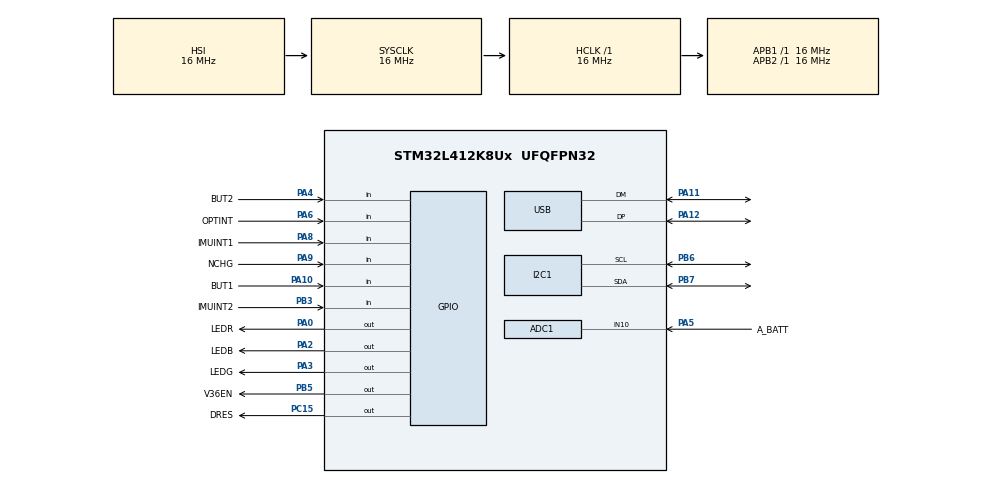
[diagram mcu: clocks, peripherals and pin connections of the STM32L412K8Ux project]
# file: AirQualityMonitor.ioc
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ADC1.Channel-0\#ChannelRegularConversion=ADC_CHANNEL_10
ADC1.NbrOfConversionFlag=1
ADC1.OffsetNumber-0\#ChannelRegularConversion=ADC_OFFSET_NONE
ADC1.Rank-0\#ChannelRegularConversion=1
ADC1.SamplingTime-0\#ChannelRegularConversion=ADC_SAMPLETIME_2CYCLES_5
ADC1.master=1
I2C1.Timing=0x00503D58
Mcu.Family=STM32L4
Mcu.Name=STM32L412K8Ux
Mcu.Package=UFQFPN32
NVIC.PriorityGroup=NVIC_PRIORITYGROUP_4
NVIC.USB_IRQn=true\:0\:0\:false\:false\:true\:false\:true\:true
PA0-CK_IN.GPIO_Label=LEDR
PA0-CK_IN.Signal=GPIO_Output
PA10.GPIO_Label=BUT1
PA10.Signal=GPIO_Input
PA11.Mode=Device
PA11.Signal=USB_DM
PA12.Mode=Device
PA12.Signal=USB_DP
PA13\ (JTMS/SWDIO).Mode=Serial_Wire
PA13\ (JTMS/SWDIO).Signal=SYS_JTMS-SWDIO
PA14\ (JTCK/SWCLK).Mode=Serial_Wire
PA14\ (JTCK/SWCLK).Signal=SYS_JTCK-SWCLK
PA2.GPIO_Label=LEDB
PA2.Signal=GPIO_Output
PA3.GPIO_Label=LEDG
PA3.Signal=GPIO_Output
PA4.GPIO_Label=BUT2
PA4.Signal=GPIO_Input
PA5.GPIO_Label=A_BATT
PA5.Signal=ADCx_IN10
PA6.GPIO_Label=OPTINT
PA6.Signal=GPIO_Input
PA8.GPIO_Label=IMUINT1
PA8.Signal=GPIO_Input
PA9.GPIO_Label=NCHG
PA9.Signal=GPIO_Input
PB3\ (JTDO/TRACESWO).GPIO_Label=IMUINT2
PB3\ (JTDO/TRACESWO).Signal=GPIO_Input
PB5.GPIO_Label=V36EN
PB5.Signal=GPIO_Output
PB6.Mode=I2C
PB6.Signal=I2C1_SCL
PB7.Mode=I2C
PB7.Signal=I2C1_SDA
PC15-OSC32_OUT\ (PC15).GPIO_Label=DRES
PC15-OSC32_OUT\ (PC15).Signal=GPIO_Output
ProjectManager.HeapSize=0x200
ProjectManager.StackSize=0x400
ProjectManager.TargetToolchain=STM32CubeIDE
RCC.ADCFreq_Value=16000000
RCC.AHBFreq_Value=16000000
RCC.APB1Freq_Value=16000000
RCC.APB1TimFreq_Value=16000000
RCC.APB2Freq_Value=16000000
RCC.APB2TimFreq_Value=16000000
RCC.CK48CLockSelection=RCC_USBCLKSOURCE_HSI48
RCC.CortexFreq_Value=16000000
RCC.HCLKFreq_Value=16000000
RCC.HSE_VALUE=8000000
RCC.HSI48_VALUE=48000000
RCC.HSI_VALUE=16000000
RCC.LSE_VALUE=32768
RCC.MSI_VALUE=4000000
RCC.SYSCLKFreq_VALUE=16000000
RCC.SYSCLKSource=RCC_SYSCLKSOURCE_HSI
RCC.USBFreq_Value=48000000
RCC.VCOOutputFreq_Value=32000000
SH.ADCx_IN10.0=ADC1_IN10,IN10-Single-Ended
USB_DEVICE.CLASS_NAME_FS=CDC
USB_DEVICE.VirtualMode=Cdc
USB_DEVICE.VirtualModeFS=Cdc_FS
VP_USB_DEVICE_VS_USB_DEVICE_CDC_FS.Mode=CDC_FS
board=custom

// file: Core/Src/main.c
/* USER CODE BEGIN Header */
/**
  ******************************************************************************
  * @file           : main.c
  * @brief          : Main program body
  ******************************************************************************
  * @attention
  *
  * Copyright (c) 2026 STMicroelectronics.
  * All rights reserved.
  *
  * This software is licensed under terms that can be found in the LICENSE file
  * in the root directory of this software component.
  * If no LICENSE file comes with this software, it is provided AS-IS.
  *
  ******************************************************************************
  */
/* USER CODE END Header */
#include "main.h"
//#include "usb_device.h"
#include "../../Drivers/SSD1316/Inc/ssd1316_drawing.h"
#include "../../Drivers/OPT3002/opt3002.h"
#include "../../Drivers/SGP41/sgp41.h"
#include "../../Drivers/SGP41/sensirion_gas_index_algorithm.h"
#include "../../Drivers/STCC4/stcc4.h"
#include "images.h"
#include <stdio.h>

/* USER CODE BEGIN Includes */
//#include "usbd_cdc_if.h"
#include "../Inc/sensor_cycling.h"
#include "../Inc/airlet_gui.h"
//#include "../Inc/airlet_gui.h"

/* USER CODE END Includes */

/* USER CODE BEGIN PD */
#define OLED_I2C_ADDR		0x3C
#define SGP41_I2C_ADDR		0x59
#define STCC4_I2C_ADDR		0x64
#define SHT40_I2C_ADDR		0x45
#define OPT3002_I2C_ADDR	0x44
#define BMI323_I2C_ADDR		0x68
/* USER CODE END PD */

ADC_HandleTypeDef hadc1;

I2C_HandleTypeDef hi2c1;

void SystemClock_Config(void);
static void MX_GPIO_Init(void);
static void MX_ADC1_Init(void);
static void MX_I2C1_Init(void);

int main(void)
{

  /* MCU Configuration--------------------------------------------------------*/

  /* Reset of all peripherals, Initializes the Flash interface and the Systick. */
  HAL_Init();

  /* Configure the system clock */
  SystemClock_Config();

  /* Initialize all configured peripherals */

  MX_GPIO_Init();
  MX_ADC1_Init();
  MX_I2C1_Init();
  MX_USB_DEVICE_Init();
  /* USER CODE BEGIN 2 */

  GasIndexAlgorithmParams vocparams;
  GasIndexAlgorithm_init(&vocparams, GasIndexAlgorithm_ALGORITHM_TYPE_VOC);
  GasIndexAlgorithmParams noxparams;
  GasIndexAlgorithm_init(&noxparams, GasIndexAlgorithm_ALGORITHM_TYPE_NOX);

  HAL_ADCEx_Calibration_Start(&hadc1, ADC_SINGLE_ENDED);

  SSD1316_Set_I2C_And_Reset_Ports(hi2c1, DRES_GPIO_Port, DRES_Pin);
  SSD1316_Init();
  SSD1316_Set_Screen_Enable(true);
  SSD1316_Clear_Screen();
  SSD1316_Set_Contrast(0x30);
  //HAL_Delay(1000);

  OPT3002_Set_I2C(hi2c1);
  SGP41_Set_I2C(hi2c1);
  STCC4_Set_I2C(hi2c1);
  Set_ADC_And_Gas_Params(&hadc1, &vocparams, &noxparams);

/*
  uint8_t dimensions[] = {44, 6, 120, 6, 120, 25, 44, 25, 36, 16};
  SSD1316_Draw_X_Gon(dimensions, 5, 1);
  char coopshap[9] = "CO2PER";
  SSD1316_Set_Cursor_Position(55, 8);
  SSD1316_Write_String(coopshap, true, true);
  char cal[22] = "Calibrating...";
  SSD1316_Set_Cursor_Position(44, 16);
  SSD1316_Write_String(cal, true, true);

  SSD1316_Update_Screen();
  HAL_Delay(1000);
*/

  SGP41_Execute_Conditioning();
  STCC4_Set_Enabled(true);
  HAL_Delay(50);

  struct SensorReadings sensor_readings = {0x00, 0x00, 0x00, 0x00, 0x00, 0x00, 0x00};
  Set_Cycling_Enabled(true);
  Set_Sensor_States(0xFF, 0x03);

  Refresh_Sensor_Readings(&sensor_readings);
  HAL_Delay(1000);
  Set_Sensor_States(0xAA, 0x02);

  GPIO_PinState old_button_1 = 0;
  GPIO_PinState old_button_2 = 0;
  GPIO_PinState old_charge = 1;

  struct SensorHistory* sensor_history = Get_Sensor_History();

  /* USER CODE END 2 */

  /* Infinite loop */
  /* USER CODE BEGIN WHILE */
  while (1) {
	  //sensor_readings.batt = (sensor_readings.batt + ((HAL_GetTick() % 100) < 30)) % 100;

		  HAL_ADC_Start(&hadc1);

		  uint16_t batt_reading = HAL_ADC_GetValue(&hadc1);
		  sensor_readings.batt = (batt_reading - 1861) * 100 / 747;

		  HAL_ADC_Stop(&hadc1);

	  GPIO_PinState button_1 = HAL_GPIO_ReadPin(GPIOA, BUT1_Pin);
	  GPIO_PinState button_2 = HAL_GPIO_ReadPin(GPIOA, BUT2_Pin);

	  if (button_1 == 0 && old_button_1 == 1) {
	  		  Check_Button_Navigation(BUTTON_PRESS, BUTTON_OFF);
	  	  }
	  else if (button_2 == 0 && old_button_2 == 1) {
		  Check_Button_Navigation(BUTTON_OFF, BUTTON_PRESS);
	  	  }

	  old_button_1 = button_1;
	  old_button_2 = button_2;

	  Refresh_Sensor_Readings(&sensor_readings);
	  Update_Display(&sensor_readings, sensor_history);

	  GPIO_PinState charging = HAL_GPIO_ReadPin(GPIOA, NCHG_Pin);

	  if (charging == GPIO_PIN_SET && old_charge == GPIO_PIN_RESET) {
	  		if (Get_Screen_State() == CHARGE_MODE) Change_State(HOME);
		} else if (charging == GPIO_PIN_RESET && old_charge == GPIO_PIN_SET) {
			Change_State(CHARGE_MODE);
		}

	  old_charge = charging;

/*

	  	//HAL_Delay(3000);
	  if (HAL_GPIO_ReadPin(GPIOA, BUT1_Pin) == GPIO_PIN_RESET) {
		  SSD1316_Set_Screen_Invert(true);
	  }
	  if (HAL_GPIO_ReadPin(GPIOA, BUT2_Pin) == GPIO_PIN_RESET) {
		  SSD1316_Set_Screen_Invert(false);
	  }

	  HAL_GPIO_WritePin(GPIOA, LEDR_Pin, GPIO_PIN_SET);
	  HAL_GPIO_WritePin(GPIOA, LEDG_Pin, GPIO_PIN_SET);

	  if (status == HAL_OK) {
	  			HAL_GPIO_WritePin(GPIOA, LEDG_Pin, GPIO_PIN_RESET);
	  			HAL_GPIO_WritePin(GPIOA, LEDR_Pin, GPIO_PIN_SET);
	  		} else {
	  			HAL_GPIO_WritePin(GPIOA, LEDR_Pin, GPIO_PIN_RESET);
	  			HAL_GPIO_WritePin(GPIOA, LEDG_Pin, GPIO_PIN_SET);
	  		}

	bufLen = snprintf(logBuf, sizeof(logBuf), "Data = %u\r\n", regData);
	CDC_Transmit_FS((uint8_t *) logBuf, bufLen);

*/

    /* USER CODE END WHILE */

  }
}

void SystemClock_Config(void)
{
  RCC_OscInitTypeDef RCC_OscInitStruct = {0};
  RCC_ClkInitTypeDef RCC_ClkInitStruct = {0};

  /** Configure the main internal regulator output voltage
  */
  if (HAL_PWREx_ControlVoltageScaling(PWR_REGULATOR_VOLTAGE_SCALE1) != HAL_OK)
  {
    Error_Handler();
  }

  /** Initializes the RCC Oscillators according to the specified parameters
  * in the RCC_OscInitTypeDef structure.
  */
  RCC_OscInitStruct.OscillatorType = RCC_OSCILLATORTYPE_HSI48|RCC_OSCILLATORTYPE_HSI;
  RCC_OscInitStruct.HSIState = RCC_HSI_ON;
  RCC_OscInitStruct.HSI48State = RCC_HSI48_ON;
  RCC_OscInitStruct.HSICalibrationValue = RCC_HSICALIBRATION_DEFAULT;
  RCC_OscInitStruct.PLL.PLLState = RCC_PLL_NONE;
  if (HAL_RCC_OscConfig(&RCC_OscInitStruct) != HAL_OK)
  {
    Error_Handler();
  }

  /** Initializes the CPU, AHB and APB buses clocks
  */
  RCC_ClkInitStruct.ClockType = RCC_CLOCKTYPE_HCLK|RCC_CLOCKTYPE_SYSCLK
                              |RCC_CLOCKTYPE_PCLK1|RCC_CLOCKTYPE_PCLK2;
  RCC_ClkInitStruct.SYSCLKSource = RCC_SYSCLKSOURCE_HSI;
  RCC_ClkInitStruct.AHBCLKDivider = RCC_SYSCLK_DIV1;
  RCC_ClkInitStruct.APB1CLKDivider = RCC_HCLK_DIV1;
  RCC_ClkInitStruct.APB2CLKDivider = RCC_HCLK_DIV1;

  if (HAL_RCC_ClockConfig(&RCC_ClkInitStruct, FLASH_LATENCY_0) != HAL_OK)
  {
    Error_Handler();
  }
}

static void MX_ADC1_Init(void)
{

  ADC_MultiModeTypeDef multimode = {0};
  ADC_ChannelConfTypeDef sConfig = {0};

  /** Common config
  */
  hadc1.Instance = ADC1;
  hadc1.Init.ClockPrescaler = ADC_CLOCK_ASYNC_DIV1;
  hadc1.Init.Resolution = ADC_RESOLUTION_12B;
  hadc1.Init.DataAlign = ADC_DATAALIGN_RIGHT;
  hadc1.Init.ScanConvMode = ADC_SCAN_DISABLE;
  hadc1.Init.EOCSelection = ADC_EOC_SINGLE_CONV;
  hadc1.Init.LowPowerAutoWait = DISABLE;
  hadc1.Init.ContinuousConvMode = DISABLE;
  hadc1.Init.NbrOfConversion = 1;
  hadc1.Init.DiscontinuousConvMode = DISABLE;
  hadc1.Init.ExternalTrigConv = ADC_SOFTWARE_START;
  hadc1.Init.ExternalTrigConvEdge = ADC_EXTERNALTRIGCONVEDGE_NONE;
  hadc1.Init.DMAContinuousRequests = DISABLE;
  hadc1.Init.Overrun = ADC_OVR_DATA_PRESERVED;
  hadc1.Init.OversamplingMode = DISABLE;
  if (HAL_ADC_Init(&hadc1) != HAL_OK)
  {
    Error_Handler();
  }

  /** Configure the ADC multi-mode
  */
  multimode.Mode = ADC_MODE_INDEPENDENT;
  if (HAL_ADCEx_MultiModeConfigChannel(&hadc1, &multimode) != HAL_OK)
  {
    Error_Handler();
  }

  /** Configure Regular Channel
  */
  sConfig.Channel = ADC_CHANNEL_10;
  sConfig.Rank = ADC_REGULAR_RANK_1;
  sConfig.SamplingTime = ADC_SAMPLETIME_47CYCLES_5;
  sConfig.SingleDiff = ADC_SINGLE_ENDED;
  sConfig.OffsetNumber = ADC_OFFSET_NONE;
  sConfig.Offset = 0;
  if (HAL_ADC_ConfigChannel(&hadc1, &sConfig) != HAL_OK)
  {
    Error_Handler();
  }

}

static void MX_I2C1_Init(void)
{

  hi2c1.Instance = I2C1;
  hi2c1.Init.Timing = 0x00300617;
  hi2c1.Init.OwnAddress1 = 0;
  hi2c1.Init.AddressingMode = I2C_ADDRESSINGMODE_7BIT;
  hi2c1.Init.DualAddressMode = I2C_DUALADDRESS_DISABLE;
  hi2c1.Init.OwnAddress2 = 0;
  hi2c1.Init.OwnAddress2Masks = I2C_OA2_NOMASK;
  hi2c1.Init.GeneralCallMode = I2C_GENERALCALL_DISABLE;
  hi2c1.Init.NoStretchMode = I2C_NOSTRETCH_DISABLE;
  if (HAL_I2C_Init(&hi2c1) != HAL_OK)
  {
    Error_Handler();
  }

  /** Configure Analogue filter
  */
  if (HAL_I2CEx_ConfigAnalogFilter(&hi2c1, I2C_ANALOGFILTER_ENABLE) != HAL_OK)
  {
    Error_Handler();
  }

  /** Configure Digital filter
  */
  if (HAL_I2CEx_ConfigDigitalFilter(&hi2c1, 0) != HAL_OK)
  {
    Error_Handler();
  }

}

static void MX_GPIO_Init(void)
{
  GPIO_InitTypeDef GPIO_InitStruct = {0};

  /* GPIO Ports Clock Enable */
  __HAL_RCC_GPIOC_CLK_ENABLE();
  __HAL_RCC_GPIOA_CLK_ENABLE();
  __HAL_RCC_GPIOB_CLK_ENABLE();

  /*Configure GPIO pin Output Level */
  HAL_GPIO_WritePin(DRES_GPIO_Port, DRES_Pin, GPIO_PIN_SET);

  /*Configure GPIO pin Output Level */
  HAL_GPIO_WritePin(GPIOA, LEDR_Pin|LEDB_Pin|LEDG_Pin, GPIO_PIN_SET);

  /*Configure GPIO pin Output Level */
  HAL_GPIO_WritePin(V36EN_GPIO_Port, V36EN_Pin, GPIO_PIN_SET);

  /*Configure GPIO pin : DRES_Pin */
  GPIO_InitStruct.Pin = DRES_Pin;
  GPIO_InitStruct.Mode = GPIO_MODE_OUTPUT_PP;
  GPIO_InitStruct.Pull = GPIO_NOPULL;
  GPIO_InitStruct.Speed = GPIO_SPEED_FREQ_LOW;
  HAL_GPIO_Init(DRES_GPIO_Port, &GPIO_InitStruct);

  /*Configure GPIO pins : LEDR_Pin LEDB_Pin LEDG_Pin */
  GPIO_InitStruct.Pin = LEDR_Pin|LEDB_Pin|LEDG_Pin;
  GPIO_InitStruct.Mode = GPIO_MODE_OUTPUT_PP;
  GPIO_InitStruct.Pull = GPIO_NOPULL;
  GPIO_InitStruct.Speed = GPIO_SPEED_FREQ_LOW;
  HAL_GPIO_Init(GPIOA, &GPIO_InitStruct);

  /*Configure GPIO pins : BUT2_Pin OPTINT_Pin IMUINT1_Pin NCHG_Pin
                           BUT1_Pin */
  GPIO_InitStruct.Pin = OPTINT_Pin|IMUINT1_Pin|NCHG_Pin;
  GPIO_InitStruct.Mode = GPIO_MODE_INPUT;
  GPIO_InitStruct.Pull = GPIO_NOPULL;
  HAL_GPIO_Init(GPIOA, &GPIO_InitStruct);

  GPIO_InitStruct.Pin = BUT2_Pin|BUT1_Pin;
  GPIO_InitStruct.Mode = GPIO_MODE_INPUT;
  GPIO_InitStruct.Pull = GPIO_PULLUP;
  HAL_GPIO_Init(GPIOA, &GPIO_InitStruct);

  /*Configure GPIO pin : IMUINT2_Pin */
  GPIO_InitStruct.Pin = IMUINT2_Pin;
  GPIO_InitStruct.Mode = GPIO_MODE_INPUT;
  GPIO_InitStruct.Pull = GPIO_NOPULL;
  HAL_GPIO_Init(IMUINT2_GPIO_Port, &GPIO_InitStruct);

  /*Configure GPIO pin : V36EN_Pin */
  GPIO_InitStruct.Pin = V36EN_Pin;
  GPIO_InitStruct.Mode = GPIO_MODE_OUTPUT_PP;
  GPIO_InitStruct.Pull = GPIO_NOPULL;
  GPIO_InitStruct.Speed = GPIO_SPEED_FREQ_LOW;
  HAL_GPIO_Init(V36EN_GPIO_Port, &GPIO_InitStruct);

}

void Error_Handler(void)
{
  __disable_irq();
  while (1)
  {
  }
}
